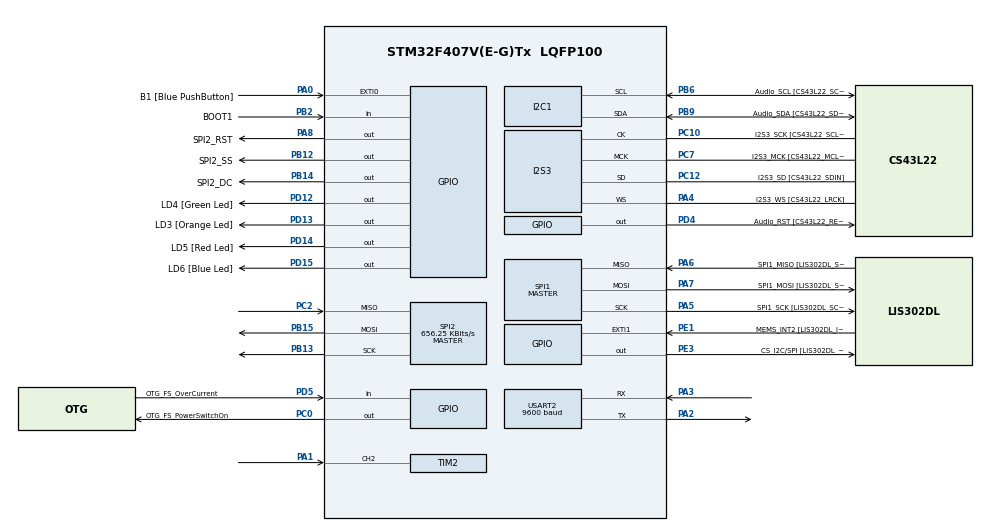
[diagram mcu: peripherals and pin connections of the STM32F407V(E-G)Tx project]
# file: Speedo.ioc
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Dma.Request0=USART2_TX
Dma.USART2_TX.0.Direction=DMA_MEMORY_TO_PERIPH
Dma.USART2_TX.0.FIFOMode=DMA_FIFOMODE_DISABLE
Dma.USART2_TX.0.Instance=DMA1_Stream6
Dma.USART2_TX.0.MemDataAlignment=DMA_MDATAALIGN_BYTE
Dma.USART2_TX.0.MemInc=DMA_MINC_ENABLE
Dma.USART2_TX.0.Mode=DMA_NORMAL
Dma.USART2_TX.0.PeriphDataAlignment=DMA_PDATAALIGN_BYTE
Dma.USART2_TX.0.PeriphInc=DMA_PINC_DISABLE
Dma.USART2_TX.0.Priority=DMA_PRIORITY_LOW
I2S3.AudioFreq-Half_Duplex_Master=I2S_AUDIOFREQ_96K
I2S3.ErrorAudioFreq=-2.34 %
I2S3.ErrorAudioFreq-Half_Duplex_Master=0.8 %
I2S3.FullDuplexMode=I2S_FULLDUPLEXMODE_DISABLE
I2S3.Instance=SPI$Index
I2S3.RealAudioFreq=93.75 KHz
I2S3.RealAudioFreq-Half_Duplex_Master=96.774 KHz
I2S3.VirtualMode=I2S_MODE_MASTER
Mcu.Family=STM32F4
Mcu.Name=STM32F407V(E-G)Tx
Mcu.Package=LQFP100
NVIC.DMA1_Stream6_IRQn=true\:0\:0\:false\:false\:true\:false\:true
NVIC.EXTI0_IRQn=true\:0\:0\:false\:false\:true\:true\:true
NVIC.PriorityGroup=NVIC_PRIORITYGROUP_0
NVIC.TIM2_IRQn=true\:0\:0\:false\:false\:true\:true\:true
NVIC.USART2_IRQn=true\:0\:0\:false\:false\:true\:true\:true
PA0-WKUP.GPIO_Label=B1 [Blue PushButton]
PA0-WKUP.GPIO_ModeDefaultEXTI=GPIO_MODE_IT_FALLING
PA0-WKUP.GPIO_PuPd=GPIO_NOPULL
PA0-WKUP.Signal=GPXTI0
PA1.Signal=S_TIM2_CH2
PA10.GPIO_Label=OTG_FS_ID
PA10.GPIO_Mode=GPIO_MODE_AF_PP
PA10.GPIO_PuPd=GPIO_NOPULL
PA10.GPIO_Speed=GPIO_SPEED_FREQ_LOW
PA10.Signal=USB_OTG_FS_ID
PA11.GPIO_Label=OTG_FS_DM
PA11.GPIO_Mode=GPIO_MODE_AF_PP
PA11.GPIO_PuPd=GPIO_NOPULL
PA11.GPIO_Speed=GPIO_SPEED_FREQ_LOW
PA11.Signal=USB_OTG_FS_DM
PA12.GPIO_Label=OTG_FS_DP
PA12.GPIO_Mode=GPIO_MODE_AF_PP
PA12.GPIO_PuPd=GPIO_NOPULL
PA12.GPIO_Speed=GPIO_SPEED_FREQ_LOW
PA12.Signal=USB_OTG_FS_DP
PA13.GPIO_Label=SWDIO
PA13.Mode=Serial_Wire
PA13.Signal=SYS_JTMS-SWDIO
PA14.GPIO_Label=SWCLK
PA14.Mode=Serial_Wire
PA14.Signal=SYS_JTCK-SWCLK
PA2.GPIO_Speed=GPIO_SPEED_FREQ_LOW
PA2.Mode=Asynchronous
PA2.Signal=USART2_TX
PA3.GPIO_Speed=GPIO_SPEED_FREQ_LOW
PA3.Mode=Asynchronous
PA3.Signal=USART2_RX
PA4.GPIO_Label=I2S3_WS [CS43L22_LRCK]
PA4.GPIO_Mode=GPIO_MODE_AF_PP
PA4.GPIO_PuPd=GPIO_NOPULL
PA4.GPIO_Speed=GPIO_SPEED_FREQ_LOW
PA4.Mode=Half_Duplex_Master
PA4.Signal=I2S3_WS
PA5.GPIO_Label=SPI1_SCK [LIS302DL_SCL/SPC]
PA5.GPIO_Mode=GPIO_MODE_AF_PP
PA5.GPIO_PuPd=GPIO_NOPULL
PA5.GPIO_Speed=GPIO_SPEED_FREQ_LOW
PA5.Mode=Full_Duplex_Master
PA5.Signal=SPI1_SCK
PA6.GPIO_Label=SPI1_MISO [LIS302DL_SDO]
PA6.GPIO_Mode=GPIO_MODE_AF_PP
PA6.GPIO_PuPd=GPIO_NOPULL
PA6.GPIO_Speed=GPIO_SPEED_FREQ_LOW
PA6.Mode=Full_Duplex_Master
PA6.Signal=SPI1_MISO
PA7.GPIO_Label=SPI1_MOSI [LIS302DL_SDA/SDI/SDO]
PA7.GPIO_Mode=GPIO_MODE_AF_PP
PA7.GPIO_PuPd=GPIO_NOPULL
PA7.GPIO_Speed=GPIO_SPEED_FREQ_LOW
PA7.Mode=Full_Duplex_Master
PA7.Signal=SPI1_MOSI
PA8.GPIO_Label=SPI2_RST
PA8.Signal=GPIO_Output
PA9.GPIO_Label=VBUS_FS
PA9.GPIO_Mode=GPIO_MODE_INPUT
PA9.GPIO_PuPd=GPIO_NOPULL
PA9.Signal=USB_OTG_FS_VBUS
PB10.GPIO_Label=CLK_IN [MP45DT02_CLK]
PB10.GPIO_Mode=GPIO_MODE_AF_PP
PB10.GPIO_PuPd=GPIO_NOPULL
PB10.GPIO_Speed=GPIO_SPEED_FREQ_LOW
PB10.Signal=I2S2_CK
PB12.GPIO_Label=SPI2_SS
PB12.GPIO_PuPd=GPIO_NOPULL
PB12.Signal=GPIO_Output
PB13.GPIO_Speed=GPIO_SPEED_FREQ_VERY_HIGH
PB13.Mode=Full_Duplex_Master
PB13.Signal=SPI2_SCK
PB14.GPIO_Label=SPI2_DC
PB14.Signal=GPIO_Output
PB15.Mode=Full_Duplex_Master
PB15.Signal=SPI2_MOSI
PB2.GPIO_Label=BOOT1
PB2.GPIO_Mode=GPIO_MODE_INPUT
PB2.GPIO_PuPd=GPIO_NOPULL
PB2.Signal=GPIO_Input
PB3.GPIO_Label=SWO
PB3.Signal=SYS_JTDO-SWO
PB6.GPIO_Label=Audio_SCL [CS43L22_SCL]
PB6.GPIO_Mode=GPIO_MODE_AF_OD
PB6.GPIO_PuPd=GPIO_NOPULL
PB6.GPIO_Speed=GPIO_SPEED_FREQ_LOW
PB6.Mode=I2C
PB6.Signal=I2C1_SCL
PB9.GPIO_Label=Audio_SDA [CS43L22_SDA]
PB9.GPIO_Mode=GPIO_MODE_AF_OD
PB9.GPIO_PuPd=GPIO_NOPULL
PB9.GPIO_Speed=GPIO_SPEED_FREQ_LOW
PB9.Mode=I2C
PB9.Signal=I2C1_SDA
PC0.GPIO_Label=OTG_FS_PowerSwitchOn
PC0.GPIO_PuPd=GPIO_NOPULL
PC0.GPIO_Speed=GPIO_SPEED_FREQ_LOW
PC0.PinState=GPIO_PIN_SET
PC0.Signal=GPIO_Output
PC10.GPIO_Label=I2S3_SCK [CS43L22_SCLK]
PC10.GPIO_Mode=GPIO_MODE_AF_PP
PC10.GPIO_PuPd=GPIO_NOPULL
PC10.GPIO_Speed=GPIO_SPEED_FREQ_LOW
PC10.Mode=Half_Duplex_Master
PC10.Signal=I2S3_CK
PC12.GPIO_Label=I2S3_SD [CS43L22_SDIN]
PC12.GPIO_Mode=GPIO_MODE_AF_PP
PC12.GPIO_PuPd=GPIO_NOPULL
PC12.GPIO_Speed=GPIO_SPEED_FREQ_LOW
PC12.Mode=Half_Duplex_Master
PC12.Signal=I2S3_SD
PC14-OSC32_IN.GPIO_Label=PC14-OSC32_IN
PC14-OSC32_IN.Mode=LSE-External-Oscillator
PC14-OSC32_IN.Signal=RCC_OSC32_IN
PC15-OSC32_OUT.GPIO_Label=PC15-OSC32_OUT
PC15-OSC32_OUT.Mode=LSE-External-Oscillator
PC15-OSC32_OUT.Signal=RCC_OSC32_OUT
PC2.Mode=Full_Duplex_Master
PC2.Signal=SPI2_MISO
PC3.GPIO_Label=PDM_OUT [MP45DT02_DOUT]
PC3.GPIO_Mode=GPIO_MODE_AF_PP
PC3.GPIO_PuPd=GPIO_NOPULL
PC3.GPIO_Speed=GPIO_SPEED_FREQ_LOW
PC3.Signal=I2S2_SD
PC7.GPIO_Label=I2S3_MCK [CS43L22_MCLK]
PC7.GPIO_Mode=GPIO_MODE_AF_PP
PC7.GPIO_PuPd=GPIO_NOPULL
PC7.GPIO_Speed=GPIO_SPEED_FREQ_LOW
PC7.Mode=Master_Clock_Activated
PC7.Signal=I2S3_MCK
PD12.GPIO_Label=LD4 [Green Led]
PD12.GPIO_PuPd=GPIO_NOPULL
PD12.GPIO_Speed=GPIO_SPEED_FREQ_LOW
PD12.Signal=GPIO_Output
PD13.GPIO_Label=LD3 [Orange Led]
PD13.GPIO_PuPd=GPIO_NOPULL
PD13.GPIO_Speed=GPIO_SPEED_FREQ_LOW
PD13.Signal=GPIO_Output
PD14.GPIO_Label=LD5 [Red Led]
PD14.GPIO_PuPd=GPIO_NOPULL
PD14.GPIO_Speed=GPIO_SPEED_FREQ_LOW
PD14.Signal=GPIO_Output
PD15.GPIO_Label=LD6 [Blue Led]
PD15.GPIO_PuPd=GPIO_NOPULL
PD15.GPIO_Speed=GPIO_SPEED_FREQ_LOW
PD15.Signal=GPIO_Output
PD4.GPIO_Label=Audio_RST [CS43L22_RESET]
PD4.GPIO_PuPd=GPIO_NOPULL
PD4.GPIO_Speed=GPIO_SPEED_FREQ_LOW
PD4.Signal=GPIO_Output
PD5.GPIO_Label=OTG_FS_OverCurrent
PD5.GPIO_Mode=GPIO_MODE_INPUT
PD5.GPIO_PuPd=GPIO_NOPULL
PD5.Signal=GPIO_Input
PE1.GPIO_Label=MEMS_INT2 [LIS302DL_INT2]
PE1.GPIO_ModeDefaultEXTI=GPIO_MODE_EVT_RISING
PE1.GPIO_PuPd=GPIO_NOPULL
PE1.Signal=GPXTI1
PE3.GPIO_Label=CS_I2C/SPI [LIS302DL_CS_I2C/SPI]
PE3.GPIO_PuPd=GPIO_NOPULL
PE3.GPIO_Speed=GPIO_SPEED_FREQ_LOW
PE3.Signal=GPIO_Output
PH0-OSC_IN.GPIO_Label=PH0-OSC_IN
PH0-OSC_IN.Mode=HSE-External-Oscillator
PH0-OSC_IN.Signal=RCC_OSC_IN
PH1-OSC_OUT.GPIO_Label=PH1-OSC_OUT
PH1-OSC_OUT.Mode=HSE-External-Oscillator
PH1-OSC_OUT.Signal=RCC_OSC_OUT
ProjectManager.HeapSize=0x200
ProjectManager.StackSize=0x400
ProjectManager.TargetToolchain=SW4STM32
RCC.48MHZClocksFreq_Value=48000000
RCC.AHBFreq_Value=168000000
RCC.APB1CLKDivider=RCC_HCLK_DIV4
RCC.APB1Freq_Value=42000000
RCC.APB1TimFreq_Value=84000000
RCC.APB2CLKDivider=RCC_HCLK_DIV2
RCC.APB2Freq_Value=84000000
RCC.APB2TimFreq_Value=168000000
RCC.CortexFreq_Value=168000000
RCC.HCLKFreq_Value=168000000
RCC.HSE_VALUE=8000000
RCC.HSI_VALUE=16000000
RCC.PLLM=8
RCC.PLLN=336
RCC.PLLQ=7
RCC.PLLSourceVirtual=RCC_PLLSOURCE_HSE
RCC.SYSCLKFreq_VALUE=168000000
RCC.SYSCLKSource=RCC_SYSCLKSOURCE_PLLCLK
RCC.VCOOutputFreq_Value=336000000
SH.S_TIM2_CH2.0=TIM2_CH2,Input_Capture2_from_TI2
SPI1.BaudRatePrescaler-Full_Duplex_Master=SPI_BAUDRATEPRESCALER_2
SPI1.CalculateBaudRate-Full_Duplex_Master=42.0 MBits/s
SPI1.Direction=SPI_DIRECTION_2LINES
SPI1.Mode=SPI_MODE_MASTER
SPI1.Mode-Full_Duplex_Master=SPI_MODE_MASTER
SPI1.VirtualType=VM_MASTER
SPI2.BaudRatePrescaler=SPI_BAUDRATEPRESCALER_64
SPI2.CalculateBaudRate=656.25 KBits/s
SPI2.Direction=SPI_DIRECTION_2LINES
SPI2.Mode=SPI_MODE_MASTER
SPI2.VirtualType=VM_MASTER
TIM2.Channel-Input_Capture2_from_TI2=TIM_CHANNEL_2
TIM2.ICFilter_CH2=2
TIM2.ICPolarity_CH2=TIM_INPUTCHANNELPOLARITY_FALLING
TIM2.Period=0xFFFFFFFF
TIM2.Prescaler=4200
USART2.BaudRate=9600
USART2.VirtualMode=VM_ASYNC
VP_TIM2_VS_ClockSourceINT.Mode=Internal
board=STM32F4DISCOVERY

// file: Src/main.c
/* USER CODE BEGIN Header */
/**
 ******************************************************************************
 * @file           : main.c
 * @brief          : Main program body
 ******************************************************************************
 * @attention
 *
 * <h2><center>&copy; Copyright (c) 2020 STMicroelectronics.
 * All rights reserved.</center></h2>
 *
 * This software component is licensed by ST under Ultimate Liberty license
 * SLA0044, the "License"; You may not use this file except in compliance with
 * the License. You may obtain a copy of the License at:
 *                             www.st.com/SLA0044
 *
 ******************************************************************************
 */
/* USER CODE END Header */

#include "main.h"

/* USER CODE BEGIN Includes */
#include "HALSensor.h"
#include "SSD1305Driver.h"
#include "SIM808Driver.h"
/* USER CODE END Includes */

I2C_HandleTypeDef hi2c1;

I2S_HandleTypeDef hi2s3;

SPI_HandleTypeDef hspi1;
SPI_HandleTypeDef hspi2;

TIM_HandleTypeDef htim2;

UART_HandleTypeDef huart2;
DMA_HandleTypeDef hdma_usart2_tx;

void SystemClock_Config (void);
static void MX_GPIO_Init (void);
static void MX_DMA_Init (void);
static void MX_I2C1_Init (void);
static void MX_I2S3_Init (void);
static void MX_SPI1_Init (void);
static void MX_USART2_UART_Init (void);
static void MX_SPI2_Init (void);
static void MX_TIM2_Init (void);

/* USER CODE BEGIN 0 */
uint8_t AlarmFlag = 1;
uint8_t state = 0;
/* USER CODE END 0 */

int main (void)
{
	/* USER CODE BEGIN 1 */
	double v;
	/* USER CODE END 1 */

	/* MCU Configuration--------------------------------------------------------*/

	/* Reset of all peripherals, Initializes the Flash interface and the Systick. */
	HAL_Init ();

	/* Configure the system clock */
	SystemClock_Config ();

	/* Initialize all configured peripherals */
	MX_GPIO_Init ();
	MX_DMA_Init ();
	MX_I2C1_Init ();
	MX_I2S3_Init ();
	MX_SPI1_Init ();
	MX_USART2_UART_Init ();
	MX_SPI2_Init ();
	MX_TIM2_Init ();
	/* USER CODE BEGIN 2 */
	SIM808_Init ();
	HALSensor_init ();
	SSD1305_Init ();

	// AlarmFlag is set -> LED red is on, LED green is off
	HAL_GPIO_WritePin (LD5_GPIO_Port, LD5_Pin, GPIO_PIN_SET);
	HAL_GPIO_WritePin (LD4_GPIO_Port, LD4_Pin, GPIO_PIN_RESET);
	/* USER CODE END 2 */

	/* Infinite loop */
	/* USER CODE BEGIN WHILE */
	while (1)
	{
		switch (state)
		{
			case 0:
			{
				v = HALSensor_GetVelocityKmph ();
				if (v > 2)
				{
					if (AlarmFlag == 1)
					{
						state = 1;
					}
					else if (AlarmFlag == 0)
					{
						state = 2;
					}
				}
				break;
			}
			case 1:
			{
				// Device is armed and sends an SMS message every 2 minutes

//				SIM808_SendSMS(10 * 1000, "Your bike is on the move!"); // TODO uncomment
				SIM808_Dial (5 * 1000); // TODO - remove. For demonstration!
				SIM808_DelayUntilAlarmFlag0 (20 * 1000); // TODO return to 2 * 60 * 1000
				if (AlarmFlag == 0)
				{
					state = 0;
				}
				break;
			}
			case 2:
			{
				v = HALSensor_GetVelocityKmph ();
				// LED screen shows current speed and alarm status
				SSD1305_DisplaySpeed (v);
				SSD1305_DisplayAlarmStatus ();
				SSD1305_UpdateScreen ();

				if (AlarmFlag == 1)
				{
					SSD1305_FillBlack ();
					SSD1305_DisplayAlarmStatus ();
					SSD1305_UpdateScreen ();
					HAL_Delay (3 * 1000);
					SSD1305_FillBlack ();
					SSD1305_UpdateScreen ();
					state = 0;
				}
				break;
			}
			default:
			{
				__NOP();
			}
		}
		/* USER CODE END WHILE */

	}
}

void SystemClock_Config (void)
{
	RCC_OscInitTypeDef RCC_OscInitStruct = { 0 };
	RCC_ClkInitTypeDef RCC_ClkInitStruct = { 0 };
	RCC_PeriphCLKInitTypeDef PeriphClkInitStruct = { 0 };

	/** Configure the main internal regulator output voltage
	 */
	__HAL_RCC_PWR_CLK_ENABLE()
	;
	__HAL_PWR_VOLTAGESCALING_CONFIG(PWR_REGULATOR_VOLTAGE_SCALE1);
	/** Initializes the CPU, AHB and APB busses clocks
	 */
	RCC_OscInitStruct.OscillatorType = RCC_OSCILLATORTYPE_HSE;
	RCC_OscInitStruct.HSEState = RCC_HSE_ON;
	RCC_OscInitStruct.PLL.PLLState = RCC_PLL_ON;
	RCC_OscInitStruct.PLL.PLLSource = RCC_PLLSOURCE_HSE;
	RCC_OscInitStruct.PLL.PLLM = 8;
	RCC_OscInitStruct.PLL.PLLN = 336;
	RCC_OscInitStruct.PLL.PLLP = RCC_PLLP_DIV2;
	RCC_OscInitStruct.PLL.PLLQ = 7;
	if (HAL_RCC_OscConfig ( & RCC_OscInitStruct) != HAL_OK)
	{
		Error_Handler ();
	}
	/** Initializes the CPU, AHB and APB busses clocks
	 */
	RCC_ClkInitStruct.ClockType = RCC_CLOCKTYPE_HCLK | RCC_CLOCKTYPE_SYSCLK | RCC_CLOCKTYPE_PCLK1
			| RCC_CLOCKTYPE_PCLK2;
	RCC_ClkInitStruct.SYSCLKSource = RCC_SYSCLKSOURCE_PLLCLK;
	RCC_ClkInitStruct.AHBCLKDivider = RCC_SYSCLK_DIV1;
	RCC_ClkInitStruct.APB1CLKDivider = RCC_HCLK_DIV4;
	RCC_ClkInitStruct.APB2CLKDivider = RCC_HCLK_DIV2;

	if (HAL_RCC_ClockConfig ( & RCC_ClkInitStruct, FLASH_LATENCY_5) != HAL_OK)
	{
		Error_Handler ();
	}
	PeriphClkInitStruct.PeriphClockSelection = RCC_PERIPHCLK_I2S;
	PeriphClkInitStruct.PLLI2S.PLLI2SN = 192;
	PeriphClkInitStruct.PLLI2S.PLLI2SR = 2;
	if (HAL_RCCEx_PeriphCLKConfig ( & PeriphClkInitStruct) != HAL_OK)
	{
		Error_Handler ();
	}
}

static void MX_I2C1_Init (void)
{

	hi2c1.Instance = I2C1;
	hi2c1.Init.ClockSpeed = 100000;
	hi2c1.Init.DutyCycle = I2C_DUTYCYCLE_2;
	hi2c1.Init.OwnAddress1 = 0;
	hi2c1.Init.AddressingMode = I2C_ADDRESSINGMODE_7BIT;
	hi2c1.Init.DualAddressMode = I2C_DUALADDRESS_DISABLE;
	hi2c1.Init.OwnAddress2 = 0;
	hi2c1.Init.GeneralCallMode = I2C_GENERALCALL_DISABLE;
	hi2c1.Init.NoStretchMode = I2C_NOSTRETCH_DISABLE;
	if (HAL_I2C_Init ( & hi2c1) != HAL_OK)
	{
		Error_Handler ();
	}

}

static void MX_I2S3_Init (void)
{

	hi2s3.Instance = SPI3;
	hi2s3.Init.Mode = I2S_MODE_MASTER_TX;
	hi2s3.Init.Standard = I2S_STANDARD_PHILIPS;
	hi2s3.Init.DataFormat = I2S_DATAFORMAT_16B;
	hi2s3.Init.MCLKOutput = I2S_MCLKOUTPUT_ENABLE;
	hi2s3.Init.AudioFreq = I2S_AUDIOFREQ_96K;
	hi2s3.Init.CPOL = I2S_CPOL_LOW;
	hi2s3.Init.ClockSource = I2S_CLOCK_PLL;
	hi2s3.Init.FullDuplexMode = I2S_FULLDUPLEXMODE_DISABLE;
	if (HAL_I2S_Init ( & hi2s3) != HAL_OK)
	{
		Error_Handler ();
	}

}

static void MX_SPI1_Init (void)
{

	/* SPI1 parameter configuration*/
	hspi1.Instance = SPI1;
	hspi1.Init.Mode = SPI_MODE_MASTER;
	hspi1.Init.Direction = SPI_DIRECTION_2LINES;
	hspi1.Init.DataSize = SPI_DATASIZE_8BIT;
	hspi1.Init.CLKPolarity = SPI_POLARITY_LOW;
	hspi1.Init.CLKPhase = SPI_PHASE_1EDGE;
	hspi1.Init.NSS = SPI_NSS_SOFT;
	hspi1.Init.BaudRatePrescaler = SPI_BAUDRATEPRESCALER_2;
	hspi1.Init.FirstBit = SPI_FIRSTBIT_MSB;
	hspi1.Init.TIMode = SPI_TIMODE_DISABLE;
	hspi1.Init.CRCCalculation = SPI_CRCCALCULATION_DISABLE;
	hspi1.Init.CRCPolynomial = 10;
	if (HAL_SPI_Init ( & hspi1) != HAL_OK)
	{
		Error_Handler ();
	}

}

static void MX_SPI2_Init (void)
{

	/* SPI2 parameter configuration*/
	hspi2.Instance = SPI2;
	hspi2.Init.Mode = SPI_MODE_MASTER;
	hspi2.Init.Direction = SPI_DIRECTION_2LINES;
	hspi2.Init.DataSize = SPI_DATASIZE_8BIT;
	hspi2.Init.CLKPolarity = SPI_POLARITY_LOW;
	hspi2.Init.CLKPhase = SPI_PHASE_1EDGE;
	hspi2.Init.NSS = SPI_NSS_SOFT;
	hspi2.Init.BaudRatePrescaler = SPI_BAUDRATEPRESCALER_64;
	hspi2.Init.FirstBit = SPI_FIRSTBIT_MSB;
	hspi2.Init.TIMode = SPI_TIMODE_DISABLE;
	hspi2.Init.CRCCalculation = SPI_CRCCALCULATION_DISABLE;
	hspi2.Init.CRCPolynomial = 10;
	if (HAL_SPI_Init ( & hspi2) != HAL_OK)
	{
		Error_Handler ();
	}

}

static void MX_TIM2_Init (void)
{

	TIM_ClockConfigTypeDef sClockSourceConfig = { 0 };
	TIM_MasterConfigTypeDef sMasterConfig = { 0 };
	TIM_IC_InitTypeDef sConfigIC = { 0 };

	htim2.Instance = TIM2;
	htim2.Init.Prescaler = 4200;
	htim2.Init.CounterMode = TIM_COUNTERMODE_UP;
	htim2.Init.Period = 0xFFFFFFFF;
	htim2.Init.ClockDivision = TIM_CLOCKDIVISION_DIV1;
	htim2.Init.AutoReloadPreload = TIM_AUTORELOAD_PRELOAD_DISABLE;
	if (HAL_TIM_Base_Init ( & htim2) != HAL_OK)
	{
		Error_Handler ();
	}
	sClockSourceConfig.ClockSource = TIM_CLOCKSOURCE_INTERNAL;
	if (HAL_TIM_ConfigClockSource ( & htim2, & sClockSourceConfig) != HAL_OK)
	{
		Error_Handler ();
	}
	if (HAL_TIM_IC_Init ( & htim2) != HAL_OK)
	{
		Error_Handler ();
	}
	sMasterConfig.MasterOutputTrigger = TIM_TRGO_RESET;
	sMasterConfig.MasterSlaveMode = TIM_MASTERSLAVEMODE_DISABLE;
	if (HAL_TIMEx_MasterConfigSynchronization ( & htim2, & sMasterConfig) != HAL_OK)
	{
		Error_Handler ();
	}
	sConfigIC.ICPolarity = TIM_INPUTCHANNELPOLARITY_FALLING;
	sConfigIC.ICSelection = TIM_ICSELECTION_DIRECTTI;
	sConfigIC.ICPrescaler = TIM_ICPSC_DIV1;
	sConfigIC.ICFilter = 2;
	if (HAL_TIM_IC_ConfigChannel ( & htim2, & sConfigIC, TIM_CHANNEL_2) != HAL_OK)
	{
		Error_Handler ();
	}

}

static void MX_USART2_UART_Init (void)
{

	huart2.Instance = USART2;
	huart2.Init.BaudRate = 9600;
	huart2.Init.WordLength = UART_WORDLENGTH_8B;
	huart2.Init.StopBits = UART_STOPBITS_1;
	huart2.Init.Parity = UART_PARITY_NONE;
	huart2.Init.Mode = UART_MODE_TX_RX;
	huart2.Init.HwFlowCtl = UART_HWCONTROL_NONE;
	huart2.Init.OverSampling = UART_OVERSAMPLING_16;
	if (HAL_UART_Init ( & huart2) != HAL_OK)
	{
		Error_Handler ();
	}

}

static void MX_DMA_Init (void)
{
	/* DMA controller clock enable */
	__HAL_RCC_DMA1_CLK_ENABLE()
	;

	/* DMA interrupt init */
	/* DMA1_Stream6_IRQn interrupt configuration */
	HAL_NVIC_SetPriority (DMA1_Stream6_IRQn, 0, 0);
	HAL_NVIC_EnableIRQ (DMA1_Stream6_IRQn);

}

static void MX_GPIO_Init (void)
{
	GPIO_InitTypeDef GPIO_InitStruct = { 0 };

	/* GPIO Ports Clock Enable */
	__HAL_RCC_GPIOE_CLK_ENABLE()
	;
	__HAL_RCC_GPIOC_CLK_ENABLE()
	;
	__HAL_RCC_GPIOH_CLK_ENABLE()
	;
	__HAL_RCC_GPIOA_CLK_ENABLE()
	;
	__HAL_RCC_GPIOB_CLK_ENABLE()
	;
	__HAL_RCC_GPIOD_CLK_ENABLE()
	;

	/*Configure GPIO pin Output Level */
	HAL_GPIO_WritePin (CS_I2C_SPI_GPIO_Port, CS_I2C_SPI_Pin, GPIO_PIN_RESET);

	/*Configure GPIO pin Output Level */
	HAL_GPIO_WritePin (OTG_FS_PowerSwitchOn_GPIO_Port, OTG_FS_PowerSwitchOn_Pin, GPIO_PIN_SET);

	/*Configure GPIO pin Output Level */
	HAL_GPIO_WritePin (GPIOB, SPI2_SS_Pin | SPI2_DC_Pin, GPIO_PIN_RESET);

	/*Configure GPIO pin Output Level */
	HAL_GPIO_WritePin (GPIOD, LD4_Pin | LD3_Pin | LD5_Pin | LD6_Pin | Audio_RST_Pin, GPIO_PIN_RESET);

	/*Configure GPIO pin Output Level */
	HAL_GPIO_WritePin (SPI2_RST_GPIO_Port, SPI2_RST_Pin, GPIO_PIN_RESET);

	/*Configure GPIO pins : PE2 PE4 PE5 PE6
	 PE7 PE8 PE9 PE10
	 PE11 PE12 PE13 PE14
	 PE15 PE0 */
	GPIO_InitStruct.Pin = GPIO_PIN_2 | GPIO_PIN_4 | GPIO_PIN_5 | GPIO_PIN_6 | GPIO_PIN_7 | GPIO_PIN_8
			| GPIO_PIN_9 | GPIO_PIN_10 | GPIO_PIN_11 | GPIO_PIN_12 | GPIO_PIN_13 | GPIO_PIN_14
			| GPIO_PIN_15 | GPIO_PIN_0;
	GPIO_InitStruct.Mode = GPIO_MODE_ANALOG;
	GPIO_InitStruct.Pull = GPIO_NOPULL;
	HAL_GPIO_Init (GPIOE, & GPIO_InitStruct);

	/*Configure GPIO pin : CS_I2C_SPI_Pin */
	GPIO_InitStruct.Pin = CS_I2C_SPI_Pin;
	GPIO_InitStruct.Mode = GPIO_MODE_OUTPUT_PP;
	GPIO_InitStruct.Pull = GPIO_NOPULL;
	GPIO_InitStruct.Speed = GPIO_SPEED_FREQ_LOW;
	HAL_GPIO_Init (CS_I2C_SPI_GPIO_Port, & GPIO_InitStruct);

	/*Configure GPIO pins : PC13 PC1 PC4 PC5
	 PC6 PC8 PC9 PC11 */
	GPIO_InitStruct.Pin = GPIO_PIN_13 | GPIO_PIN_1 | GPIO_PIN_4 | GPIO_PIN_5 | GPIO_PIN_6 | GPIO_PIN_8
			| GPIO_PIN_9 | GPIO_PIN_11;
	GPIO_InitStruct.Mode = GPIO_MODE_ANALOG;
	GPIO_InitStruct.Pull = GPIO_NOPULL;
	HAL_GPIO_Init (GPIOC, & GPIO_InitStruct);

	/*Configure GPIO pin : OTG_FS_PowerSwitchOn_Pin */
	GPIO_InitStruct.Pin = OTG_FS_PowerSwitchOn_Pin;
	GPIO_InitStruct.Mode = GPIO_MODE_OUTPUT_PP;
	GPIO_InitStruct.Pull = GPIO_NOPULL;
	GPIO_InitStruct.Speed = GPIO_SPEED_FREQ_LOW;
	HAL_GPIO_Init (OTG_FS_PowerSwitchOn_GPIO_Port, & GPIO_InitStruct);

	/*Configure GPIO pin : PDM_OUT_Pin */
	GPIO_InitStruct.Pin = PDM_OUT_Pin;
	GPIO_InitStruct.Mode = GPIO_MODE_AF_PP;
	GPIO_InitStruct.Pull = GPIO_NOPULL;
	GPIO_InitStruct.Speed = GPIO_SPEED_FREQ_LOW;
	GPIO_InitStruct.Alternate = GPIO_AF5_SPI2;
	HAL_GPIO_Init (PDM_OUT_GPIO_Port, & GPIO_InitStruct);

	/*Configure GPIO pin : B1_Pin */
	GPIO_InitStruct.Pin = B1_Pin;
	GPIO_InitStruct.Mode = GPIO_MODE_IT_FALLING;
	GPIO_InitStruct.Pull = GPIO_NOPULL;
	HAL_GPIO_Init (B1_GPIO_Port, & GPIO_InitStruct);

	/*Configure GPIO pins : PB0 PB1 PB11 PB4
	 PB5 PB7 PB8 */
	GPIO_InitStruct.Pin = GPIO_PIN_0 | GPIO_PIN_1 | GPIO_PIN_11 | GPIO_PIN_4 | GPIO_PIN_5 | GPIO_PIN_7
			| GPIO_PIN_8;
	GPIO_InitStruct.Mode = GPIO_MODE_ANALOG;
	GPIO_InitStruct.Pull = GPIO_NOPULL;
	HAL_GPIO_Init (GPIOB, & GPIO_InitStruct);

	/*Configure GPIO pin : BOOT1_Pin */
	GPIO_InitStruct.Pin = BOOT1_Pin;
	GPIO_InitStruct.Mode = GPIO_MODE_INPUT;
	GPIO_InitStruct.Pull = GPIO_NOPULL;
	HAL_GPIO_Init (BOOT1_GPIO_Port, & GPIO_InitStruct);

	/*Configure GPIO pin : CLK_IN_Pin */
	GPIO_InitStruct.Pin = CLK_IN_Pin;
	GPIO_InitStruct.Mode = GPIO_MODE_AF_PP;
	GPIO_InitStruct.Pull = GPIO_NOPULL;
	GPIO_InitStruct.Speed = GPIO_SPEED_FREQ_LOW;
	GPIO_InitStruct.Alternate = GPIO_AF5_SPI2;
	HAL_GPIO_Init (CLK_IN_GPIO_Port, & GPIO_InitStruct);

	/*Configure GPIO pins : SPI2_SS_Pin SPI2_DC_Pin */
	GPIO_InitStruct.Pin = SPI2_SS_Pin | SPI2_DC_Pin;
	GPIO_InitStruct.Mode = GPIO_MODE_OUTPUT_PP;
	GPIO_InitStruct.Pull = GPIO_NOPULL;
	GPIO_InitStruct.Speed = GPIO_SPEED_FREQ_LOW;
	HAL_GPIO_Init (GPIOB, & GPIO_InitStruct);

	/*Configure GPIO pins : PD8 PD9 PD10 PD11
	 PD0 PD1 PD2 PD3
	 PD6 PD7 */
	GPIO_InitStruct.Pin = GPIO_PIN_8 | GPIO_PIN_9 | GPIO_PIN_10 | GPIO_PIN_11 | GPIO_PIN_0 | GPIO_PIN_1
			| GPIO_PIN_2 | GPIO_PIN_3 | GPIO_PIN_6 | GPIO_PIN_7;
	GPIO_InitStruct.Mode = GPIO_MODE_ANALOG;
	GPIO_InitStruct.Pull = GPIO_NOPULL;
	HAL_GPIO_Init (GPIOD, & GPIO_InitStruct);

	/*Configure GPIO pins : LD4_Pin LD3_Pin LD5_Pin LD6_Pin
	 Audio_RST_Pin */
	GPIO_InitStruct.Pin = LD4_Pin | LD3_Pin | LD5_Pin | LD6_Pin | Audio_RST_Pin;
	GPIO_InitStruct.Mode = GPIO_MODE_OUTPUT_PP;
	GPIO_InitStruct.Pull = GPIO_NOPULL;
	GPIO_InitStruct.Speed = GPIO_SPEED_FREQ_LOW;
	HAL_GPIO_Init (GPIOD, & GPIO_InitStruct);

	/*Configure GPIO pin : SPI2_RST_Pin */
	GPIO_InitStruct.Pin = SPI2_RST_Pin;
	GPIO_InitStruct.Mode = GPIO_MODE_OUTPUT_PP;
	GPIO_InitStruct.Pull = GPIO_NOPULL;
	GPIO_InitStruct.Speed = GPIO_SPEED_FREQ_LOW;
	HAL_GPIO_Init (SPI2_RST_GPIO_Port, & GPIO_InitStruct);

	/*Configure GPIO pin : VBUS_FS_Pin */
	GPIO_InitStruct.Pin = VBUS_FS_Pin;
	GPIO_InitStruct.Mode = GPIO_MODE_INPUT;
	GPIO_InitStruct.Pull = GPIO_NOPULL;
	HAL_GPIO_Init (VBUS_FS_GPIO_Port, & GPIO_InitStruct);

	/*Configure GPIO pins : OTG_FS_ID_Pin OTG_FS_DM_Pin OTG_FS_DP_Pin */
	GPIO_InitStruct.Pin = OTG_FS_ID_Pin | OTG_FS_DM_Pin | OTG_FS_DP_Pin;
	GPIO_InitStruct.Mode = GPIO_MODE_AF_PP;
	GPIO_InitStruct.Pull = GPIO_NOPULL;
	GPIO_InitStruct.Speed = GPIO_SPEED_FREQ_LOW;
	GPIO_InitStruct.Alternate = GPIO_AF10_OTG_FS;
	HAL_GPIO_Init (GPIOA, & GPIO_InitStruct);

	/*Configure GPIO pin : PA15 */
	GPIO_InitStruct.Pin = GPIO_PIN_15;
	GPIO_InitStruct.Mode = GPIO_MODE_ANALOG;
	GPIO_InitStruct.Pull = GPIO_NOPULL;
	HAL_GPIO_Init (GPIOA, & GPIO_InitStruct);

	/*Configure GPIO pin : OTG_FS_OverCurrent_Pin */
	GPIO_InitStruct.Pin = OTG_FS_OverCurrent_Pin;
	GPIO_InitStruct.Mode = GPIO_MODE_INPUT;
	GPIO_InitStruct.Pull = GPIO_NOPULL;
	HAL_GPIO_Init (OTG_FS_OverCurrent_GPIO_Port, & GPIO_InitStruct);

	/*Configure GPIO pin : MEMS_INT2_Pin */
	GPIO_InitStruct.Pin = MEMS_INT2_Pin;
	GPIO_InitStruct.Mode = GPIO_MODE_EVT_RISING;
	GPIO_InitStruct.Pull = GPIO_NOPULL;
	HAL_GPIO_Init (MEMS_INT2_GPIO_Port, & GPIO_InitStruct);

	/* EXTI interrupt init*/
	HAL_NVIC_SetPriority (EXTI0_IRQn, 0, 0);
	HAL_NVIC_EnableIRQ (EXTI0_IRQn);

}

/* USER CODE BEGIN 4 */
void HAL_UART_TxCpltCallback (UART_HandleTypeDef *huart)
{
	__NOP();
}

void HAL_UART_ErrorCallback (UART_HandleTypeDef *huart)
{
	__NOP();
}

void HAL_UART_RxCpltCallback (UART_HandleTypeDef *huart)
{
	SIM808_rx_buf[SIM808_rx_head] = SIM808_rx_byte;
	if (SIM808_rx_head < (SIM808_RX_SIZE - 1))
	{
		SIM808_rx_head++;
	}
	else
	{
		SIM808_rx_head = 0;
	}
	HAL_UART_Receive_IT ( & SIM808_UART, (uint8_t *) & SIM808_rx_byte, 1);
}

void HAL_TIM_IC_CaptureCallback (TIM_HandleTypeDef *htim)
{
	uint32_t counter_value;
	UNUSED(htim);
	if (htim->Instance == TIM2)
	{
		counter_value = __HAL_TIM_GetCounter(htim);
		HALSensor_push (counter_value);
	}
}

void HAL_GPIO_EXTI_Callback (uint16_t GPIO_Pin)
{
	if (GPIO_Pin == B1_Pin)
	{
		if (HAL_GPIO_ReadPin (LD5_GPIO_Port, LD5_Pin) == GPIO_PIN_SET)
		{
			AlarmFlag = 0;
			HAL_GPIO_WritePin (LD5_GPIO_Port, LD5_Pin, GPIO_PIN_RESET);
			HAL_GPIO_WritePin (LD4_GPIO_Port, LD4_Pin, GPIO_PIN_SET);
		}
		else
		{
			AlarmFlag = 1;
			HAL_GPIO_WritePin (LD5_GPIO_Port, LD5_Pin, GPIO_PIN_SET);
			HAL_GPIO_WritePin (LD4_GPIO_Port, LD4_Pin, GPIO_PIN_RESET);
		}

	}
}

/* USER CODE END 4 */

void Error_Handler (void)
{
}

/************************ (C) COPYRIGHT STMicroelectronics *****END OF FILE****/
